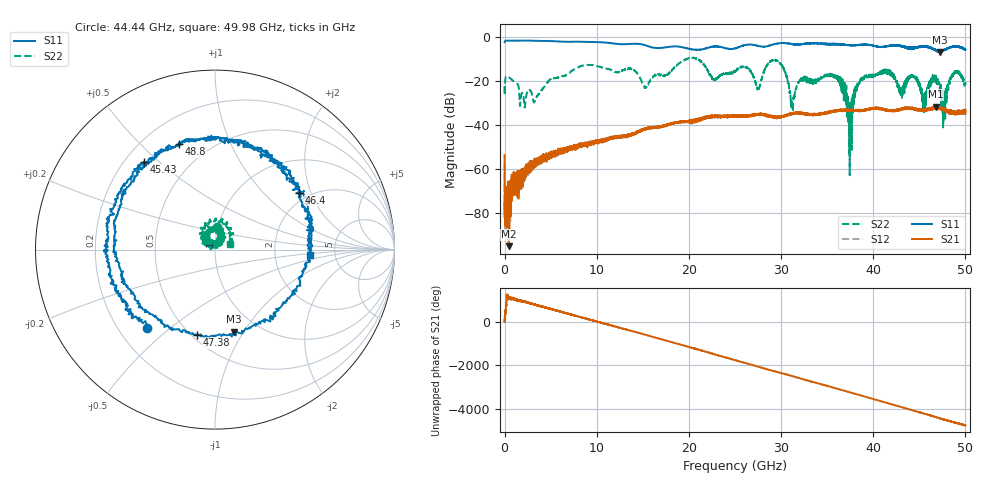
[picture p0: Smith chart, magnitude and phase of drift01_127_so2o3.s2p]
!Created with skrf (http://scikit-rf.org).
# Hz S RI R 50.0
!freq ReS11 ImS11 ReS21 ImS21 ReS12 ImS12 ReS22 ImS22
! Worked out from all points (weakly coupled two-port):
!   10001 points, 300 kHz to 50 GHz, reference 50 ohm
!   highest |S21| = -31.46 dB at 46.79 GHz (marker M1); lowest = -95.1 dB at 455.3 MHz (marker M2)
!   lowest |S11| = -6.6 dB at 47.21 GHz (marker M3), VSWR 2.77, Z = 38.7 - j45.3 ohm
!   |S11| at or under -10 dB: nowhere
!   |S22| runs from -62.8 to -9.2 dB; largest |S21 - S12| = 0.0037
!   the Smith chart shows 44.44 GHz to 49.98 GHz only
!   S11 on the Smith chart (normalised r, x): 44.44 GHz: 0.32, -0.41; 45.43 GHz: 0.28, +0.45; 46.4 GHz: 1.77, +1.66; 47.38 GHz: 0.53, -0.66; 48.8 GHz: 0.34, +0.66; 49.98 GHz: 3.24, -0.28
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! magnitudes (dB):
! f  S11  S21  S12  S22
! 300 kHz  -2.1  -53.6  -57.5  -22.1
! 455.3 MHz  -1.4  -95.1  -69.9  -18.1
! 3.29 GHz  -1.5  -57.8  -56.7  -28.8
! 8.335 GHz  -1.9  -49.5  -48.8  -12.9
! 16.67 GHz  -4.8  -40.6  -41.0  -16.6
! 25 GHz  -5.0  -35.9  -36.1  -15.5
! 29.59 GHz  -2.8  -36.3  -36.2  -10.7
! 31.24 GHz  -2.9  -34.6  -34.6  -32.2
! 33.34 GHz  -2.6  -35.2  -35.3  -20.2
! 36.24 GHz  -2.9  -33.4  -33.3  -19.4
! 37.47 GHz  -3.6  -33.1  -33.1  -31.8
! 38.65 GHz  -3.3  -33.5  -33.3  -20.1
! 41.67 GHz  -3.9  -33.0  -33.1  -15.7
! 44.44 GHz  -4.8  -32.7  -32.4  -17.9
! 45.43 GHz  -4.0  -33.4  -33.0  -27.0
! 46.4 GHz  -4.9  -32.5  -32.4  -20.0
! 46.79 GHz  -5.9  -31.5  -32.0  -18.2
! 47.21 GHz  -6.6  -32.2  -31.9  -24.6
! 47.38 GHz  -6.3  -32.4  -32.1  -28.7
! 48.8 GHz  -4.1  -34.6  -34.1  -16.4
! 49.98 GHz  -5.5  -33.5  -33.7  -20.8
! 50 GHz  -5.6  -33.3  -33.8  -21.6
